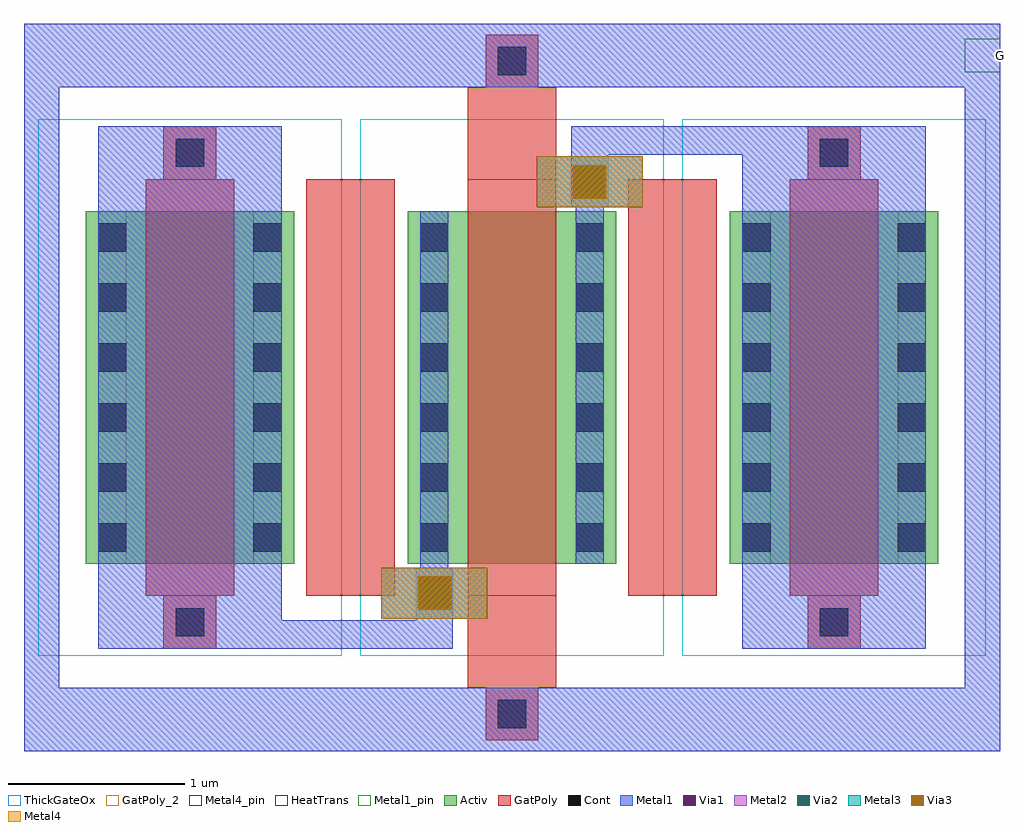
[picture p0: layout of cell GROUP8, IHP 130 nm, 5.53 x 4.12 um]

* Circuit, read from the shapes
.subckt GROUP8 G
XM1 nmosHV_priv23_1/D nmosHV_priv23_1/D nmosHV_priv23_1/D VSUBS sg13_hv_nmos w=2u l=0.5u
XM2 nmosHV_priv23_1/S G nmosHV_priv23_1/D VSUBS sg13_hv_nmos w=2u l=0.5u
XM3 nmosHV_priv23_1/S nmosHV_priv23_1/S nmosHV_priv23_1/S VSUBS sg13_hv_nmos w=2u l=0.5u
.ends

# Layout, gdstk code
import gdstk
lib = gdstk.Library(unit=1e-6, precision=1e-09)
def R(c, l, rs):  # rectangles x0, y0, x1, y1
    for r in rs: c.add(gdstk.rectangle(r[:2], r[2:], *l))
def A(c, l, x, y, w, h, nx, ny, dx, dy):  # array of equal rectangles
    R(c, l, [(x+i*dx, y+j*dy, x+i*dx+w, y+j*dy+h) for i in range(nx) for j in range(ny)])
Activ = (1, 0)
GatPoly = (5, 0)
GatPoly_2 = (5, 2)
Cont = (6, 0)
Metal1 = (8, 0)
Metal1_pin = (8, 2)
Metal2 = (10, 0)
Via1 = (19, 0)
Via2 = (29, 0)
Metal3 = (30, 0)
ThickGateOx = (44, 0)
Via3 = (49, 0)
Metal4 = (50, 0)
Metal4_pin = (50, 2)
HeatTrans = (51, 0)

nmoshv_priv24 = lib.new_cell('nmosHV_priv24')
R(nmoshv_priv24, Activ, [(0,0,0.3,0.3), (0,0,1.18,2), (0.88,0,1.18,0.3)])
R(nmoshv_priv24, GatPoly, [(0.44,-0.48,0.74,-0.18), (0.34,-0.18,0.84,2.18), (0.44,2.18,0.74,2.48)])
R(nmoshv_priv24, GatPoly_2, [(0.34,-0.18,0.84,2.18)])
A(nmoshv_priv24, Cont, 0.07, 0.07, 0.16, 0.16, 1, 6, 0, 0.34)
A(nmoshv_priv24, Cont, 0.95, 0.07, 0.16, 0.16, 1, 6, 0, 0.34)
R(nmoshv_priv24, Cont, [(0.51,-0.41,0.67,-0.25), (0.51,2.25,0.67,2.41)])
R(nmoshv_priv24, Metal1, [(0.07,-0.48,1.11,2.48), (0.07,0,0.23,2), (0.95,0,1.11,2)])
R(nmoshv_priv24, Metal1_pin, [(0.07,0,0.23,2), (0.95,0,1.11,2)])
R(nmoshv_priv24, ThickGateOx, [(-0.27,-0.52,1.45,2.52)])
R(nmoshv_priv24, HeatTrans, [(0.34,-0.18,0.84,2.18)])
nmoshv_priv24.add(gdstk.Label('nmosHV', (0.59,1), layer=63, texttype=0))
nmoshv_priv24.add(gdstk.Label('nmosHV', (0.59,1), layer=51, texttype=0))

nmoshv_priv23 = lib.new_cell('nmosHV_priv23')
R(nmoshv_priv23, Activ, [(0,0,0.3,0.3), (0,0,1.18,2), (0.88,0,1.18,0.3)])
R(nmoshv_priv23, GatPoly, [(0.44,-1,0.74,-0.7), (0.34,-0.7,0.84,-0.18), (0.34,-0.18,0.84,2.18), (0.34,2.18,0.84,2.7), (0.44,2.7,0.74,3)])
R(nmoshv_priv23, GatPoly_2, [(0.34,-0.18,0.84,2.18)])
A(nmoshv_priv23, Cont, 0.07, 0.07, 0.16, 0.16, 1, 6, 0, 0.34)
A(nmoshv_priv23, Cont, 0.95, 0.07, 0.16, 0.16, 1, 6, 0, 0.34)
R(nmoshv_priv23, Cont, [(0.51,-0.93,0.67,-0.77), (0.51,2.77,0.67,2.93)])
R(nmoshv_priv23, Metal1, [(0.455,-1.06,0.725,-0.7), (0.045,-0.31,0.255,-0.02), (0.07,-0.035,0.23,0.015), (0.07,0,0.23,2), (0.95,0,1.11,2), (0.95,1.985,1.11,2.035), (0.925,2.02,1.135,2.31), (0.455,2.7,0.725,3.06)])
R(nmoshv_priv23, Metal1_pin, [(0.07,0,0.23,2), (0.95,0,1.11,2)])
R(nmoshv_priv23, Metal2, [(-0.15,-0.31,0.45,-0.02), (0.05,-0.31,0.25,-0.02), (0.73,2.02,1.33,2.31), (0.93,2.02,1.13,2.31)])
R(nmoshv_priv23, Via1, [(0.055,-0.26,0.245,-0.07), (0.935,2.07,1.125,2.26)])
R(nmoshv_priv23, Via2, [(0.055,-0.26,0.245,-0.07), (0.935,2.07,1.125,2.26)])
R(nmoshv_priv23, Metal3, [(-0.15,-0.31,0.45,-0.02), (0.05,-0.31,0.25,-0.02), (0.73,2.02,1.33,2.31), (0.93,2.02,1.13,2.31)])
R(nmoshv_priv23, ThickGateOx, [(-0.27,-0.52,1.45,2.52)])
R(nmoshv_priv23, Via3, [(0.055,-0.26,0.245,-0.07), (0.935,2.07,1.125,2.26)])
R(nmoshv_priv23, Metal4, [(-0.15,-0.31,0.45,-0.02), (0.05,-0.31,0.25,-0.02), (0.73,2.02,1.33,2.31), (0.93,2.02,1.13,2.31)])
R(nmoshv_priv23, Metal4_pin, [(0.055,-0.26,0.245,-0.07), (0.935,2.07,1.125,2.26)])
R(nmoshv_priv23, HeatTrans, [(0.34,-0.18,0.84,2.18)])
nmoshv_priv23.add(gdstk.Label('nmosHV', (0.59,1), layer=63, texttype=0))
nmoshv_priv23.add(gdstk.Label('nmosHV', (0.59,1), layer=51, texttype=0))
nmoshv_priv23.add(gdstk.Label('S', (1.03,2.165), layer=50, texttype=0))
nmoshv_priv23.add(gdstk.Label('D', (0.15,-0.165), layer=50, texttype=0))

nmoshv_priv25 = lib.new_cell('nmosHV_priv25')
R(nmoshv_priv25, Activ, [(0,0,0.3,0.3), (0,0,1.18,2), (0.88,0,1.18,0.3)])
R(nmoshv_priv25, GatPoly, [(0.44,-0.48,0.74,-0.18), (0.34,-0.18,0.84,2.18), (0.44,2.18,0.74,2.48)])
R(nmoshv_priv25, GatPoly_2, [(0.34,-0.18,0.84,2.18)])
A(nmoshv_priv25, Cont, 0.07, 0.07, 0.16, 0.16, 1, 6, 0, 0.34)
A(nmoshv_priv25, Cont, 0.95, 0.07, 0.16, 0.16, 1, 6, 0, 0.34)
R(nmoshv_priv25, Cont, [(0.51,-0.41,0.67,-0.25), (0.51,2.25,0.67,2.41)])
R(nmoshv_priv25, Metal1, [(0.07,-0.48,1.11,2.48), (0.07,0,0.23,2), (0.95,0,1.11,2)])
R(nmoshv_priv25, Metal1_pin, [(0.07,0,0.23,2), (0.95,0,1.11,2)])
R(nmoshv_priv25, ThickGateOx, [(-0.27,-0.52,1.45,2.52)])
R(nmoshv_priv25, HeatTrans, [(0.34,-0.18,0.84,2.18)])
nmoshv_priv25.add(gdstk.Label('nmosHV', (0.59,1), layer=63, texttype=0))
nmoshv_priv25.add(gdstk.Label('nmosHV', (0.59,1), layer=51, texttype=0))

group8 = lib.new_cell('GROUP8')
R(group8, GatPoly, [(125.285,278.2,125.785,280.56), (127.11,278.2,127.61,280.56)])
R(group8, Metal1, [(123.685,277.32,129.215,277.68), (123.685,277.32,123.885,281.44), (129.015,277.32,129.215,281.44), (125.145,277.9,126.115,278.06), (125.905,278.06,126.115,278.36), (126.785,280.4,126.995,280.7), (126.785,280.7,127.755,280.86), (123.685,281.08,129.215,281.44)])
R(group8, Metal1_pin, [(129.015,281.165,129.215,281.355)])
group8.add(gdstk.Reference(nmoshv_priv24, (127.685,278.38)))
group8.add(gdstk.Reference(nmoshv_priv23, (125.86,278.38)))
group8.add(gdstk.Reference(nmoshv_priv25, (124.035,278.38)))
group8.add(gdstk.Label('G', (129.215,281.26), layer=8, texttype=0))
group8.add(gdstk.Label('XMN4', (125.85,281.74), layer=1000, texttype=0))
group8.add(gdstk.Label('XMN2', (126.45,281.74), layer=1000, texttype=0))
group8.add(gdstk.Label('XMN3', (127.05,281.74), layer=1000, texttype=0))

lib.write_gds('GROUP8.gds')
